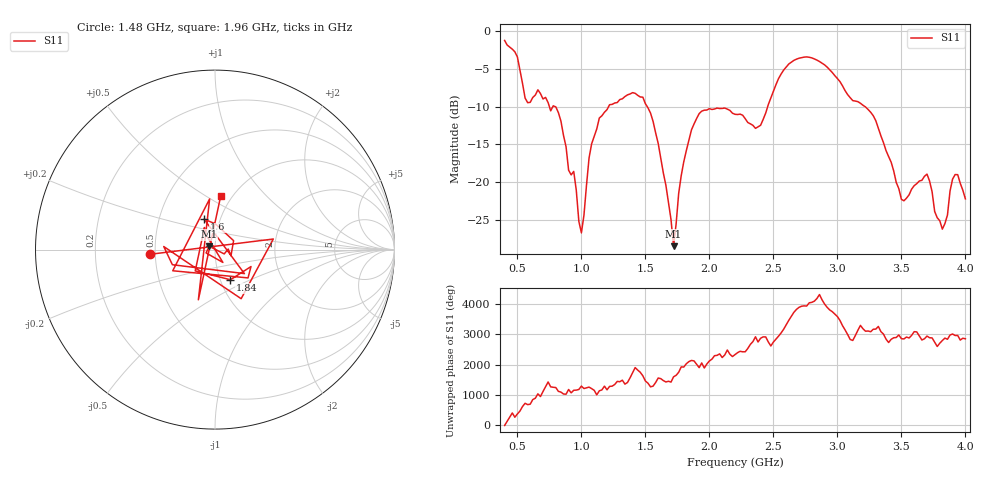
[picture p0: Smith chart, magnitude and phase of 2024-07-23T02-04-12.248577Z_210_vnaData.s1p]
!Created with skrf (http://scikit-rf.org).
# Hz S RI R 50.0
!freq ReS11 ImS11
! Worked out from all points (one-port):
!   181 points, 400 MHz to 4 GHz, reference 50 ohm
!   lowest |S11| = -28.5 dB at 1.72 GHz (marker M1), VSWR 1.08, Z = 46.8 + j1.76 ohm
!   |S11| at or under -10 dB: 792.7 MHz to 1.213 GHz (420 MHz wide, 41.9 % of centre); 1.514 GHz to 2.456 GHz (941.8 MHz wide, 47.5 % of centre); 3.215 GHz to end of sweep (the widest 3 of 4)
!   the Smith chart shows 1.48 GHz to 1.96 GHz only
!   S11 on the Smith chart (normalised r, x): 1.48 GHz: 0.47, -0.03; 1.6 GHz: 0.84, +0.29; 1.84 GHz: 1.12, -0.39; 1.96 GHz: 0.89, +0.58
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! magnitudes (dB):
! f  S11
! 400 MHz  -1.3
! 500 MHz  -3.4
! 580 MHz  -9.5
! 660 MHz  -7.8
! 860 MHz  -13.8
! 900 MHz  -18.4
! 940 MHz  -18.6
! 1 GHz  -26.7
! 1.08 GHz  -14.9
! 1.3 GHz  -9.1
! 1.48 GHz  -8.8
! 1.6 GHz  -14.9
! 1.72 GHz  -28.5
! 1.76 GHz  -21.5
! 1.84 GHz  -14.5
! 1.96 GHz  -10.5
! 2.2 GHz  -11.0
! 2.4 GHz  -12.5
! 2.66 GHz  -3.9
! 2.88 GHz  -4.3
! 3.1 GHz  -8.8
! 3.28 GHz  -11.2
! 3.5 GHz  -22.3
! 3.56 GHz  -21.7
! 3.7 GHz  -18.9
! 3.82 GHz  -26.2
! 3.92 GHz  -19.0
! 4 GHz  -22.2
